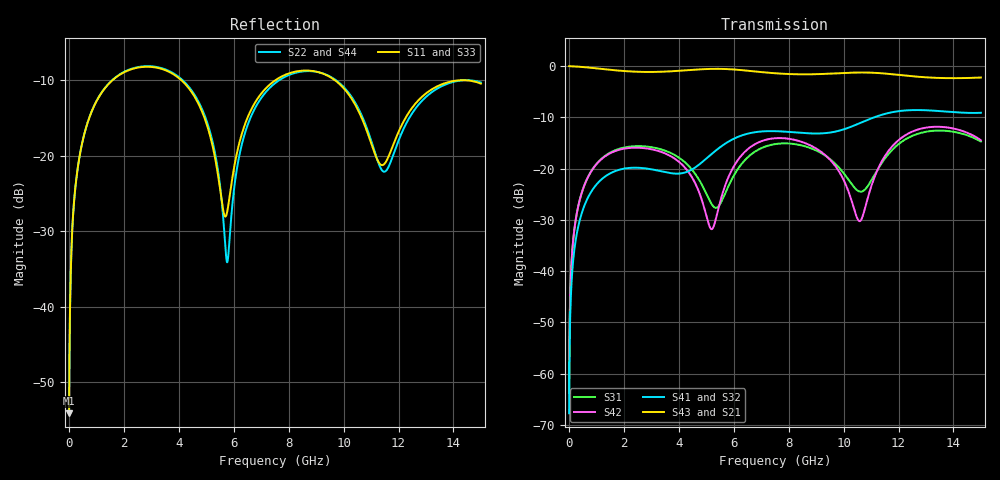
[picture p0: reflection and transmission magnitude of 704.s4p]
! Created with skrf 1.8.0 (http://scikit-rf.org).
# GHz S RI R 50.0
!freq ReS11 ImS11 ReS12 ImS12 ReS13 ImS13
! ReS14 ImS14
! ReS21 ImS21 ReS22 ImS22 ReS23 ImS23
! ReS24 ImS24
! ReS31 ImS31 ReS32 ImS32 ReS33 ImS33
! ReS34 ImS34
! ReS41 ImS41 ReS42 ImS42 ReS43 ImS43
! ReS44 ImS44
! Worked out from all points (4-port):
!   2499 points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, 5 MHz to 15 GHz, reference 50 ohm
!   strongest paths, dB at 5 MHz, 3.476 GHz, 7.19 GHz, 11.1 GHz, 15 GHz:
!     S43: 0.0, -1.1, -1.3, -1.3, -2.2
!     S21: 0.0, -1.1, -1.3, -1.3, -2.2
!     S41: -67.8, -20.7, -12.7, -10.0, -9.1
!     S32: -67.8, -20.8, -12.8, -10.0, -9.3
!     S42: -63.7, -17.0, -14.3, -22.1, -14.5
!     S31: -63.7, -16.5, -15.6, -21.5, -14.7
!   lowest |S11| = -54.1 dB at 5 MHz (marker M1), VSWR 1.00, Z = 50.2 + j0.119 ohm
!   |S11| at or under -10 dB: start of sweep to 1.576 GHz; 4.099 GHz to 7.508 GHz (3.409 GHz wide, 58.7 % of centre); 9.693 GHz to 14.18 GHz (4.488 GHz wide, 37.6 % of centre) (the widest 3 of 4)
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0.005  0.00157 0.00119  0.9984 -0.00305  7.95e-05 0.000647  -7.7e-05 -0.000401
       0.9984 -0.00305  0.00157 0.00119  -7.7e-05 -0.000401  7.93e-05 0.000647
       7.95e-05 0.000647  -7.7e-05 -0.000401  0.00157 0.00119  0.9984 -0.00305
       -7.7e-05 -0.000401  7.93e-05 0.000647  0.9984 -0.00305  0.00157 0.00119
0.3126303  0.0223 0.0785  0.9695 -0.1902  0.0108 0.0385  -0.00873 -0.0237
           0.9695 -0.1902  0.0224 0.0784  -0.00871 -0.0237  0.0102 0.0387
           0.0108 0.0385  -0.00871 -0.0237  0.0223 0.0785  0.9695 -0.1902
           -0.00873 -0.0237  0.0102 0.0387  0.9695 -0.1902  0.0224 0.0785
1.519383  0.2481 0.1847  0.5917 -0.7031  0.1287 0.0649  -0.0894 -0.0131
          0.5917 -0.7031  0.2508 0.1831  -0.0892 -0.0133  0.1207 0.0746
          0.1287 0.0649  -0.0892 -0.0133  0.2482 0.1846  0.5917 -0.7031
          -0.0894 -0.0131  0.1207 0.0746  0.5917 -0.7031  0.2506 0.1832
5.564819  0.0407 -0.0291  -0.9267 -0.1514  -0.038 0.03  -0.0212 0.1648
          -0.9267 -0.1514  0.0219 -0.0445  -0.0265 0.164  0.0296 0.0453
          -0.038 0.03  -0.0265 0.164  0.0392 -0.0282  -0.9267 -0.1513
          -0.0212 0.1648  0.0296 0.0453  -0.9267 -0.1513  0.0227 -0.0436
8.959983  0.3591 -0.0517  0.0339 0.8328  0.1241 -0.0877  0.2069 -0.074
          0.0339 0.8328  0.3593 -0.0425  0.2075 -0.0618  0.1299 -0.0922
          0.1241 -0.0877  0.2075 -0.0618  0.361 -0.0544  0.0332 0.8327
          0.2069 -0.074  0.1299 -0.0922  0.0332 0.8327  0.358 -0.0391
11.61109  0.0938 0.0231  0.8388 0.0617  -0.00693 0.136  0.00246 -0.3474
          0.8388 0.0617  0.082 0.0112  0.0235 -0.3468  0.0303 0.1425
          -0.00693 0.136  0.0235 -0.3468  0.0904 0.0268  0.8388 0.063
          0.00246 -0.3474  0.0303 0.1425  0.8388 0.063  0.0844 0.00865
15  0.2898 -0.0814  -0.0548 -0.7713  0.1325 -0.1268  -0.3337 0.1065
    -0.0548 -0.7713  0.2952 -0.0809  -0.3358 0.0732  0.1416 -0.1256
    0.1325 -0.1268  -0.3358 0.0732  0.2951 -0.0922  -0.0518 -0.7713
    -0.3337 0.1065  0.1416 -0.1256  -0.0518 -0.7713  0.2914 -0.0682
